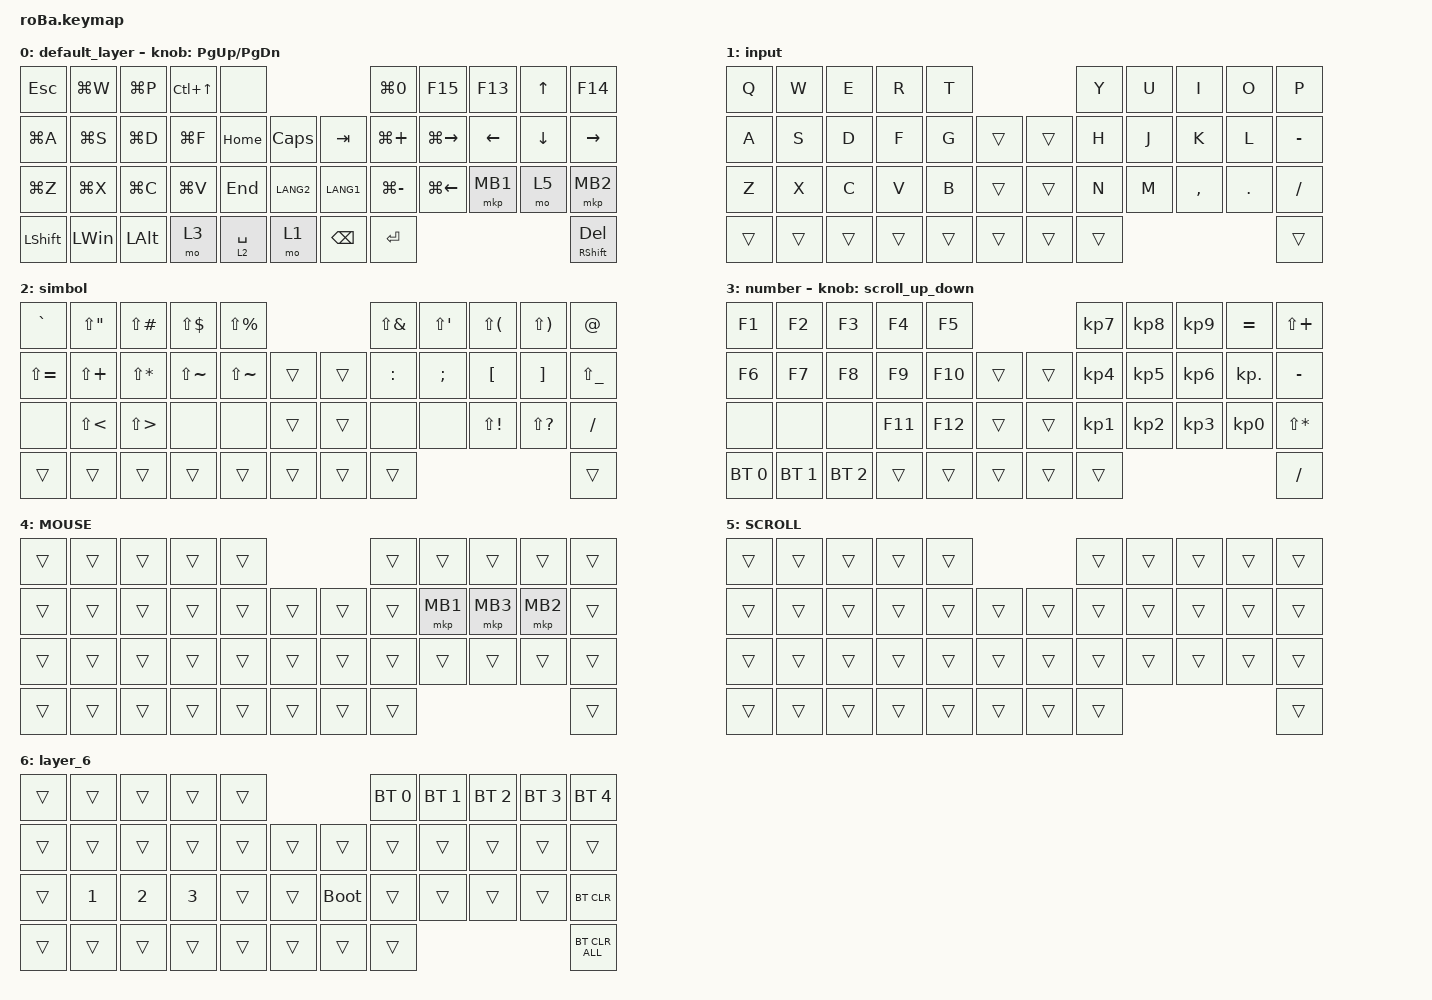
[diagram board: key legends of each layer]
#include <behaviors.dtsi>
#include <dt-bindings/zmk/bt.h>
#include <dt-bindings/zmk/keys.h>
#include <dt-bindings/zmk/pointing.h>

#define MOUSE 4
#define SCROLL 5
#define NUM 6

&mt {
    flavor = "balanced";
    quick-tap-ms = <0>;
};

/ {
    combos {
        compatible = "zmk,combos";

        tab {
            bindings = <&kp TAB>;
            key-positions = <11 12>;
        };

        shift_tab {
            bindings = <&kp LS(TAB)>;
            key-positions = <12 13>;
        };

        muhennkann {
            bindings = <&to_layer_0 INT_MUHENKAN>;
            key-positions = <11 10>;
        };

        double_quotation {
            bindings = <&kp DOUBLE_QUOTES>;
            key-positions = <20 21>;
        };

        eq {
            bindings = <&kp EQUAL>;
            key-positions = <24 25>;
        };
    };

    macros {
        to_layer_0: to_layer_0 {
            compatible = "zmk,behavior-macro-one-param";
            #binding-cells = <1>;
            bindings = <&to 0 &macro_param_1to1 &kp MACRO_PLACEHOLDER>;
            label = "TO_LAYER_0";
        };
    };

    behaviors {
        lt_to_layer_0: lt_to_layer_0 {
            compatible = "zmk,behavior-hold-tap";
            label = "LAYER_TAP_TO_0";
            bindings = <&mo>, <&to_layer_0>;

            #binding-cells = <2>;
            tapping-term-ms = <200>;
        };
    };

    keymap {
        compatible = "zmk,keymap";

        default_layer {
            bindings = <
&kp ESC    &kp LG(W)     &kp LG(P)     &kp LC(UP)  &none                                      &kp LG(N0)     &kp F15        &kp F13   &kp UP    &kp F14
&kp LG(A)  &kp LG(S)     &kp LG(D)     &kp LG(F)   &kp HOME     &kp CAPS       &kp TAB        &kp LG(PLUS)   &kp LG(RIGHT)  &kp LEFT  &kp DOWN  &kp RIGHT
&kp LG(Z)  &kp LG(X)     &kp LG(C)     &kp LG(V)   &kp END      &kp LANG2      &kp LANG1      &kp LG(MINUS)  &kp LG(LEFT)   &mkp MB1  &mo 5     &mkp MB2
&kp LSHFT  &kp LEFT_WIN  &kp LEFT_ALT  &mo 3       &lt 2 SPACE  &mo 1          &kp BACKSPACE  &kp ENTER                                         &mt RIGHT_SHIFT DEL
            >;

            sensor-bindings = <&inc_dec_kp PAGE_UP PAGE_DOWN>;
        };

        input {
            bindings = <
&kp Q   &kp W   &kp E   &kp R   &kp T                       &kp Y   &kp U  &kp I      &kp O    &kp P
&kp A   &kp S   &kp D   &kp F   &kp G   &trans      &trans  &kp H   &kp J  &kp K      &kp L    &kp MINUS
&kp Z   &kp X   &kp C   &kp V   &kp B   &trans      &trans  &kp N   &kp M  &kp COMMA  &kp DOT  &kp FSLH
&trans  &trans  &trans  &trans  &trans  &trans      &trans  &trans                             &trans
            >;
        };

        simbol {
            bindings = <
&kp GRAVE      &kp LS(DQT)   &kp LS(POUND)  &kp LS(DLLR)   &kp LS(PRCNT)                      &kp LS(AMPS)  &kp LS(SQT)  &kp LS(LPAR)  &kp LS(RPAR)   &kp AT
&kp LS(EQUAL)  &kp LS(PLUS)  &kp LS(STAR)   &kp LS(TILDE)  &kp LS(TILDE)  &trans      &trans  &kp COLON     &kp SEMI     &kp LBKT      &kp RBKT       &kp LS(UNDER)
&none          &kp LS(LT)    &kp LS(GT)     &none          &none          &trans      &trans  &none         &none        &kp LS(EXCL)  &kp LS(QMARK)  &kp FSLH
&trans         &trans        &trans         &trans         &trans         &trans      &trans  &trans                                                  &trans
            >;
        };

        number {
            bindings = <
&kp F1        &kp F2        &kp F3        &kp F4   &kp F5                       &kp KP_NUMBER_7  &kp KP_NUMBER_8  &kp KP_NUMBER_9  &kp EQUAL        &kp LS(PLUS)
&kp F6        &kp F7        &kp F8        &kp F9   &kp F10  &trans      &trans  &kp KP_NUMBER_4  &kp KP_NUMBER_5  &kp KP_NUMBER_6  &kp KP_DOT       &kp MINUS
&none         &none         &none         &kp F11  &kp F12  &trans      &trans  &kp KP_NUMBER_1  &kp KP_NUMBER_2  &kp KP_NUMBER_3  &kp KP_NUMBER_0  &kp LS(STAR)
&bt BT_SEL 0  &bt BT_SEL 1  &bt BT_SEL 2  &trans   &trans   &trans      &trans  &trans                                                              &kp FSLH
            >;

            sensor-bindings = <&scroll_up_down>;
        };

        MOUSE {
            bindings = <
&trans  &trans  &trans  &trans  &trans                      &trans  &trans    &trans    &trans    &trans
&trans  &trans  &trans  &trans  &trans  &trans      &trans  &trans  &mkp MB1  &mkp MB3  &mkp MB2  &trans
&trans  &trans  &trans  &trans  &trans  &trans      &trans  &trans  &trans    &trans    &trans    &trans
&trans  &trans  &trans  &trans  &trans  &trans      &trans  &trans                                &trans
            >;
        };

        SCROLL {
            bindings = <
&trans  &trans  &trans  &trans  &trans                      &trans  &trans  &trans  &trans  &trans
&trans  &trans  &trans  &trans  &trans  &trans      &trans  &trans  &trans  &trans  &trans  &trans
&trans  &trans  &trans  &trans  &trans  &trans      &trans  &trans  &trans  &trans  &trans  &trans
&trans  &trans  &trans  &trans  &trans  &trans      &trans  &trans                          &trans
            >;
        };

        layer_6 {
            bindings = <
&trans  &trans        &trans        &trans        &trans                           &bt BT_SEL 0  &bt BT_SEL 1  &bt BT_SEL 2  &bt BT_SEL 3  &bt BT_SEL 4
&trans  &trans        &trans        &trans        &trans  &trans      &trans       &trans        &trans        &trans        &trans        &trans
&trans  &kp NUMBER_1  &kp NUMBER_2  &kp NUMBER_3  &trans  &trans      &bootloader  &trans        &trans        &trans        &trans        &bt BT_CLR
&trans  &trans        &trans        &trans        &trans  &trans      &trans       &trans                                                  &bt BT_CLR_ALL
            >;
        };
    };
};
